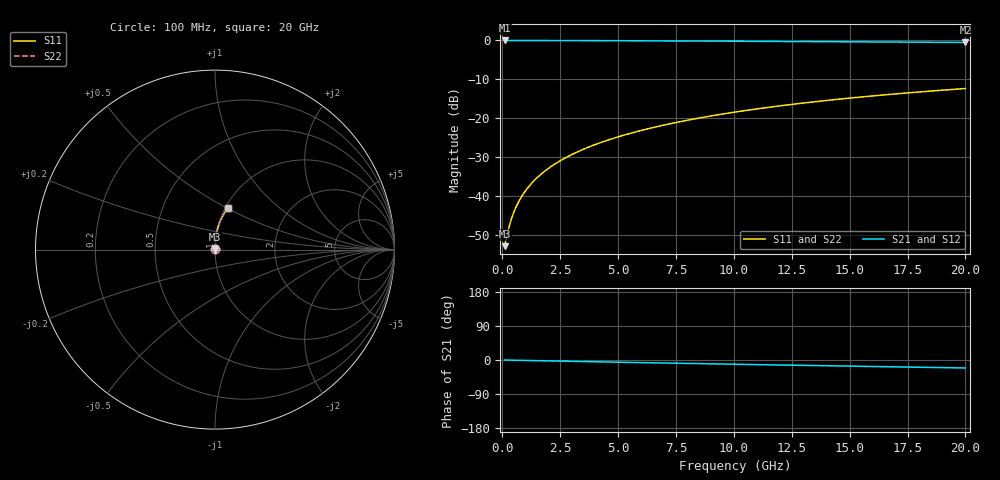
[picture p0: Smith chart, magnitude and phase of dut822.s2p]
! Touchstone file exported from HFSS 2024.1.0
!  File:  C:/UserFiles/LocalFiles/RDL_TSV_Batchsim/temp_RDL_top_822_1779854568.aedt
!  Generated:  12:05:08 PM May 27, 2026
!  Design:  RDL_top
!  Project:  temp_RDL_top_822_1779854568
!  Setup:  Setup1
!  Solution:  Sweep
! Variables:
!  dtsv = 10.80580581um
!  hbump = 3um
!  htsv = 85.96um
!  ldown = 100um
!  lrdl = 248.86um
!  p = 40
!  p1 = 49.3um
!  rhole = 1um
!  t = 450um
!  tdown = 3.915915916um
!  trdl = 2.77um
!  wdown = 15.38538539um
!  wrdl = 18.91um
# GHz S MA R 50.000000
! Terminal data exported
! Port[1] = Box2_T1
! Port[2] = Box2_T2
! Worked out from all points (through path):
!   200 points, 100 MHz to 20 GHz, reference 50 ohm
!   highest |S21| = -0.02 dB at 100 MHz (marker M1); lowest = -0.5 dB at 20 GHz (marker M2)
!   group delay of S21, straight-line fit = 2.9 ps
!   lowest |S11| = -52.8 dB at 100 MHz (marker M3), VSWR 1.00, Z = 50.2 + j0.122 ohm
!   |S11| at or under -10 dB: start of sweep to end of sweep
!   |S22| runs from -52.8 to -12.4 dB; largest |S21 - S12| = 2.6e-15
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0.1  0.002287 32.0  0.9981 -0.1  0.9981 -0.1  0.002287 32.0
! Gamma 0 0 0 0
! Port Impedance 50 0 50 0
0.2  0.003119 50.6  0.998 -0.2  0.998 -0.2  0.003119 50.6
0.3  0.004126 60.4  0.9979 -0.4  0.9979 -0.4  0.004126 60.4
0.4  0.005189 66.2  0.9978 -0.5  0.9978 -0.5  0.005189 66.2
0.5  0.006269 69.9  0.9978 -0.6  0.9978 -0.6  0.006269 69.9
0.6  0.007355 72.5  0.9977 -0.7  0.9977 -0.7  0.007355 72.5
0.8  0.009534 76.1  0.9975 -1.0  0.9975 -1.0  0.009534 76.1
1.1  0.01282 79.3  0.9973 -1.3  0.9973 -1.3  0.01282 79.3
1.3  0.01503 80.7  0.9971 -1.5  0.9971 -1.5  0.01503 80.7
1.6  0.01836 82.2  0.9968 -1.9  0.9968 -1.9  0.01836 82.2
2.1  0.02398 83.8  0.9962 -2.5  0.9962 -2.5  0.02398 83.8
2.7  0.0308 84.8  0.9954 -3.2  0.9954 -3.2  0.0308 84.8
3.5  0.04004 85.6  0.994 -4.1  0.994 -4.1  0.04004 85.6
4.2  0.04825 85.8  0.9926 -4.9  0.9926 -4.9  0.04825 85.8
5  0.05778 85.8  0.9907 -5.8  0.9907 -5.8  0.05778 85.8
5.9  0.06866 85.6  0.9884 -6.8  0.9884 -6.8  0.06866 85.6
6.8  0.07968 85.2  0.9859 -7.8  0.9859 -7.8  0.07968 85.2
8.4  0.09955 84.1  0.9811 -9.5  0.9811 -9.5  0.09954 84.1
10.1  0.1208 82.7  0.9758 -11.3  0.9758 -11.3  0.1208 82.7
13.4  0.162 79.5  0.9649 -14.6  0.9649 -14.6  0.162 79.5
16.7  0.2023 76.2  0.9534 -17.9  0.9534 -17.9  0.2023 76.2
20  0.2412 72.8  0.9414 -21.0  0.9414 -21.0  0.2411 72.8
